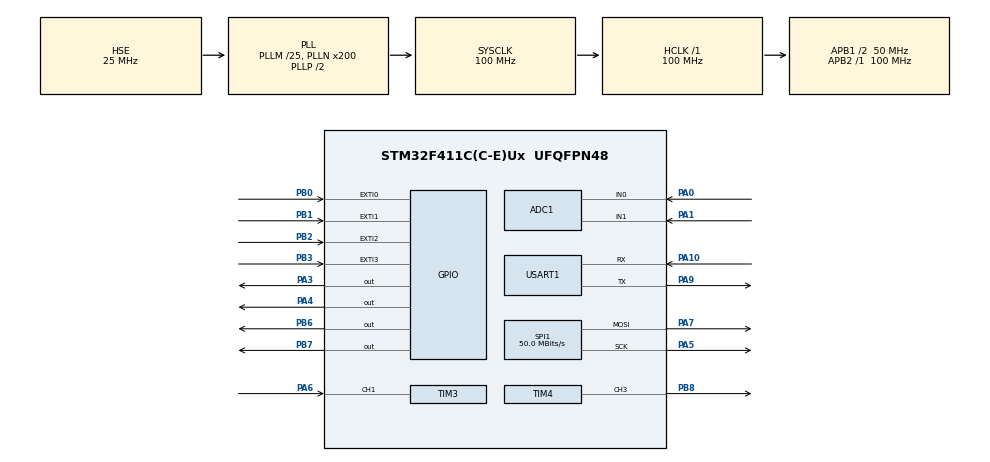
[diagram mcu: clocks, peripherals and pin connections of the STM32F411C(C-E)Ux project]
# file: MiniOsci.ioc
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ADC1.Channel-0\#ChannelRegularConversion=ADC_CHANNEL_0
ADC1.Channel-1\#ChannelRegularConversion=ADC_CHANNEL_1
ADC1.DMAContinuousRequests=ENABLE
ADC1.DiscontinuousConvMode=DISABLE
ADC1.EOCSelection=ADC_EOC_SEQ_CONV
ADC1.EnableAnalogWatchDog=true
ADC1.ExternalTrigConv=ADC_EXTERNALTRIGCONV_T2_TRGO
ADC1.HighThreshold=3700
ADC1.ITMode=ENABLE
ADC1.NbrOfConversion=2
ADC1.NbrOfConversionFlag=1
ADC1.Rank-0\#ChannelRegularConversion=1
ADC1.Rank-1\#ChannelRegularConversion=2
ADC1.SamplingTime-0\#ChannelRegularConversion=ADC_SAMPLETIME_15CYCLES
ADC1.SamplingTime-1\#ChannelRegularConversion=ADC_SAMPLETIME_15CYCLES
ADC1.ScanConvMode=ENABLE
ADC1.WatchdogMode=ADC_ANALOGWATCHDOG_ALL_REG
ADC1.master=1
Dma.ADC1.0.Direction=DMA_PERIPH_TO_MEMORY
Dma.ADC1.0.FIFOMode=DMA_FIFOMODE_DISABLE
Dma.ADC1.0.Instance=DMA2_Stream0
Dma.ADC1.0.MemDataAlignment=DMA_MDATAALIGN_HALFWORD
Dma.ADC1.0.MemInc=DMA_MINC_ENABLE
Dma.ADC1.0.Mode=DMA_CIRCULAR
Dma.ADC1.0.PeriphDataAlignment=DMA_PDATAALIGN_HALFWORD
Dma.ADC1.0.PeriphInc=DMA_PINC_DISABLE
Dma.ADC1.0.Priority=DMA_PRIORITY_LOW
Dma.Request0=ADC1
Mcu.Family=STM32F4
Mcu.Name=STM32F411C(C-E)Ux
Mcu.Package=UFQFPN48
NVIC.ADC_IRQn=true\:0\:0\:false\:false\:true\:true\:true\:true
NVIC.DMA2_Stream0_IRQn=true\:0\:0\:false\:false\:true\:false\:true\:true
NVIC.EXTI0_IRQn=true\:3\:0\:true\:false\:true\:true\:true\:true
NVIC.EXTI1_IRQn=true\:3\:0\:true\:false\:true\:true\:true\:true
NVIC.EXTI2_IRQn=true\:3\:0\:true\:false\:true\:true\:true\:true
NVIC.EXTI3_IRQn=true\:3\:0\:true\:false\:true\:true\:true\:true
NVIC.PriorityGroup=NVIC_PRIORITYGROUP_4
NVIC.TIM5_IRQn=true\:2\:0\:true\:false\:true\:true\:true\:true
PA0-WKUP.Signal=ADCx_IN0
PA1.Signal=ADCx_IN1
PA10.Mode=Asynchronous
PA10.Signal=USART1_RX
PA3.Signal=GPIO_Output
PA4.Signal=GPIO_Output
PA5.Mode=TX_Only_Simplex_Unidirect_Master
PA5.Signal=SPI1_SCK
PA6.Signal=S_TIM3_CH1
PA7.Mode=TX_Only_Simplex_Unidirect_Master
PA7.Signal=SPI1_MOSI
PA9.Mode=Asynchronous
PA9.Signal=USART1_TX
PB0.Signal=GPXTI0
PB1.Signal=GPXTI1
PB2.Signal=GPXTI2
PB3.Signal=GPXTI3
PB6.Signal=GPIO_Output
PB7.Signal=GPIO_Output
PB8.Signal=S_TIM4_CH3
PH0\ -\ OSC_IN.Mode=HSE-External-Oscillator
PH0\ -\ OSC_IN.Signal=RCC_OSC_IN
PH1\ -\ OSC_OUT.Mode=HSE-External-Oscillator
PH1\ -\ OSC_OUT.Signal=RCC_OSC_OUT
ProjectManager.HeapSize=0x200
ProjectManager.StackSize=0x400
ProjectManager.TargetToolchain=STM32CubeIDE
RCC.48MHZClocksFreq_Value=50000000
RCC.AHBFreq_Value=100000000
RCC.APB1CLKDivider=RCC_HCLK_DIV2
RCC.APB1Freq_Value=50000000
RCC.APB1TimFreq_Value=100000000
RCC.APB2Freq_Value=100000000
RCC.APB2TimFreq_Value=100000000
RCC.CortexFreq_Value=100000000
RCC.HCLKFreq_Value=100000000
RCC.HSE_VALUE=25000000
RCC.HSI_VALUE=16000000
RCC.LSE_VALUE=32768
RCC.PLLM=25
RCC.PLLN=200
RCC.PLLSourceVirtual=RCC_PLLSOURCE_HSE
RCC.SYSCLKFreq_VALUE=100000000
RCC.SYSCLKSource=RCC_SYSCLKSOURCE_PLLCLK
RCC.VCOOutputFreq_Value=200000000
SH.ADCx_IN0.0=ADC1_IN0,IN0
SH.ADCx_IN1.0=ADC1_IN1,IN1
SH.S_TIM3_CH1.0=TIM3_CH1,Input_Capture1_from_TI1
SH.S_TIM4_CH3.0=TIM4_CH3,PWM Generation3 CH3
SPI1.CalculateBaudRate=50.0 MBits/s
SPI1.Direction=SPI_DIRECTION_2LINES
SPI1.Mode=SPI_MODE_MASTER
SPI1.VirtualType=VM_MASTER
TIM2.AutoReloadPreload=TIM_AUTORELOAD_PRELOAD_ENABLE
TIM2.Period=999
TIM2.TIM_MasterOutputTrigger=TIM_TRGO_UPDATE
TIM3.Channel-Input_Capture1_from_TI1=TIM_CHANNEL_1
TIM4.Channel-PWM\ Generation3\ CH3=TIM_CHANNEL_3
TIM4.Period=255
TIM5.Period=1562
TIM5.AutoReloadPreload=TIM_AUTORELOAD_PRELOAD_ENABLE
USART1.VirtualMode=VM_ASYNC
VP_TIM2_VS_ClockSourceINT.Mode=Internal
VP_TIM4_VS_ClockSourceINT.Mode=Internal
VP_TIM5_VS_ClockSourceINT.Mode=Internal
board=custom

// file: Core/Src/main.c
/* USER CODE BEGIN Header */
/**
  ******************************************************************************
  * @file           : main.c
  * @brief          : Main program body
  ******************************************************************************
  * @attention
  *
  * Copyright (c) 2026 STMicroelectronics.
  * All rights reserved.
  *
  * This software is licensed under terms that can be found in the LICENSE file
  * in the root directory of this software component.
  * If no LICENSE file comes with this software, it is provided AS-IS.
  *
  ******************************************************************************
  */
/* USER CODE END Header */
#include "main.h"
#include "adc.h"
#include "dma.h"
#include "spi.h"
#include "tim.h"
#include "usart.h"
#include "gpio.h"

/* USER CODE BEGIN Includes */
#include "config.h"
#include "osc_adc.h"
#include "osc_signal.h"
#include "osc_display.h"
#include "osc_ui.h"
#include "ili9341.h"
#include "func_gen.h"
#include <string.h>
#include <stdio.h>
/* USER CODE END Includes */

/* USER CODE BEGIN PV */
static uint8_t holdDrawn = 0;
/* USER CODE END PV */

void SystemClock_Config(void);

int main(void)
{

  /* MCU Configuration--------------------------------------------------------*/

  /* Reset of all peripherals, Initializes the Flash interface and the Systick. */
  HAL_Init();

  /* Configure the system clock */
  SystemClock_Config();

  /* Initialize all configured peripherals */
  MX_GPIO_Init();
  MX_DMA_Init();
  MX_ADC1_Init();
  MX_SPI1_Init();
  MX_TIM2_Init();
  MX_TIM3_Init();
  MX_USART1_UART_Init();
  MX_TIM4_Init();
  MX_TIM5_Init();
  /* USER CODE BEGIN 2 */

  /* Initialize display */
  Display_Init();

  /* Splash screen — landscape centered */
  ILI9341_FillScreen(COLOR_PANEL_BG);
  ILI9341_DrawString(64, 60, "MINI OSCILLOSCOPE", COLOR_GREEN, COLOR_PANEL_BG, 2);
  ILI9341_DrawString(96, 100, "Dual Channel + FuncGen", COLOR_CYAN, COLOR_PANEL_BG, 1);
  ILI9341_DrawString(88, 130, "STM32F411 BlackPill", COLOR_ORANGE, COLOR_PANEL_BG, 1);
  ILI9341_DrawString(100, 160, "v1.0  |  MiniOsci", COLOR_AXIS_LABEL, COLOR_PANEL_BG, 1);
  HAL_Delay(1500);
  Display_ClearScreen();

  /* Start function generator (1 kHz sine on PB8) */
  FuncGen_Init();
  FuncGen_Start();

  /* Start ADC + DMA + Timer sampling */
  OSC_ADC_Start();

  /* USER CODE END 2 */

  /* Infinite loop */
  while (1)
  {

    /* USER CODE BEGIN 3 */

    /* === Oscilloscope Main Loop === */
    if (bufferReady && UI_GetState() == STATE_RUN)
    {
        bufferReady = 0;

        uint8_t ch        = UI_GetChannel();
        uint16_t* buf     = OSC_ADC_GetBuffer(ch);
        float voltDiv     = UI_GetVoltDiv();
        uint8_t timeDivIdx  = UI_GetTimeDivIndex();
        uint8_t voltDivIdx  = UI_GetVoltDivIndex();

        uint32_t sampleRate = 100000000UL / (TIME_DIV_ARR[timeDivIdx] + 1);
        float freq = Signal_GetFrequency(buf, SAMPLE_BUFFER_SIZE, sampleRate);
        float vpp  = Signal_GetVpp(buf, SAMPLE_BUFFER_SIZE);

        static uint8_t lastStatsVisible = 0;

        /* If stats overlay was just turned off, full-clear once to wipe it */
        if (lastStatsVisible && !UI_GetStatsVisible()) {
            Display_ClearWaveform();
        }
        lastStatsVisible = UI_GetStatsVisible();

        /* Grid: draw once, then only repaired internally by DrawWaveform.
           Automatically redrawn if ClearWaveform was called above. */
        if (Display_NeedsGrid()) {
            Display_DrawGrid();
        }

        /* Axis labels: only redrawn internally when voltDiv changes */
        Display_DrawAxisLabels(timeDivIdx, voltDivIdx);

        /* Waveform: self-erasing + grid repair */
        Display_DrawWaveform(buf, SAMPLE_BUFFER_SIZE, ch, voltDiv);

        /* Measurements: only redrawn internally when values change */
        Display_DrawMeasurements(freq, vpp, ch, timeDivIdx, voltDivIdx, 0);

        /* Stats overlay (toggle with PB4) */
        if (UI_GetStatsVisible()) {
            Display_DrawStats(buf, SAMPLE_BUFFER_SIZE, ch);
        }
    }
    else if (UI_GetState() == STATE_HOLD)
    {
        /* Redraw HOLD status once */
        if (!holdDrawn) {
            uint8_t ch = UI_GetChannel();
            uint16_t* buf = OSC_ADC_GetBuffer(ch);
            uint8_t tdi = UI_GetTimeDivIndex();
            uint8_t vdi = UI_GetVoltDivIndex();
            uint32_t sr = 100000000UL / (TIME_DIV_ARR[tdi] + 1);
            float f = Signal_GetFrequency(buf, SAMPLE_BUFFER_SIZE, sr);
            float v = Signal_GetVpp(buf, SAMPLE_BUFFER_SIZE);
            Display_DrawMeasurements(f, v, ch, tdi, vdi, 1);
            holdDrawn = 1;
        }
    }
    else
    {
        holdDrawn = 0;
    }

  }
  /* USER CODE END 3 */
}

void SystemClock_Config(void)
{
  RCC_OscInitTypeDef RCC_OscInitStruct = {0};
  RCC_ClkInitTypeDef RCC_ClkInitStruct = {0};

  /** Configure the main internal regulator output voltage
  */
  __HAL_RCC_PWR_CLK_ENABLE();
  __HAL_PWR_VOLTAGESCALING_CONFIG(PWR_REGULATOR_VOLTAGE_SCALE1);

  /** Initializes the RCC Oscillators according to the specified parameters
  * in the RCC_OscInitTypeDef structure.
  */
  RCC_OscInitStruct.OscillatorType = RCC_OSCILLATORTYPE_HSE;
  RCC_OscInitStruct.HSEState = RCC_HSE_ON;
  RCC_OscInitStruct.PLL.PLLState = RCC_PLL_ON;
  RCC_OscInitStruct.PLL.PLLSource = RCC_PLLSOURCE_HSE;
  RCC_OscInitStruct.PLL.PLLM = 25;
  RCC_OscInitStruct.PLL.PLLN = 200;
  RCC_OscInitStruct.PLL.PLLP = RCC_PLLP_DIV2;
  RCC_OscInitStruct.PLL.PLLQ = 4;
  if (HAL_RCC_OscConfig(&RCC_OscInitStruct) != HAL_OK)
  {
    Error_Handler();
  }

  /** Initializes the CPU, AHB and APB buses clocks
  */
  RCC_ClkInitStruct.ClockType = RCC_CLOCKTYPE_HCLK|RCC_CLOCKTYPE_SYSCLK
                              |RCC_CLOCKTYPE_PCLK1|RCC_CLOCKTYPE_PCLK2;
  RCC_ClkInitStruct.SYSCLKSource = RCC_SYSCLKSOURCE_PLLCLK;
  RCC_ClkInitStruct.AHBCLKDivider = RCC_SYSCLK_DIV1;
  RCC_ClkInitStruct.APB1CLKDivider = RCC_HCLK_DIV2;
  RCC_ClkInitStruct.APB2CLKDivider = RCC_HCLK_DIV1;

  if (HAL_RCC_ClockConfig(&RCC_ClkInitStruct, FLASH_LATENCY_3) != HAL_OK)
  {
    Error_Handler();
  }
}

void Error_Handler(void)
{
  __disable_irq();
  while (1)
  {
  }
}
